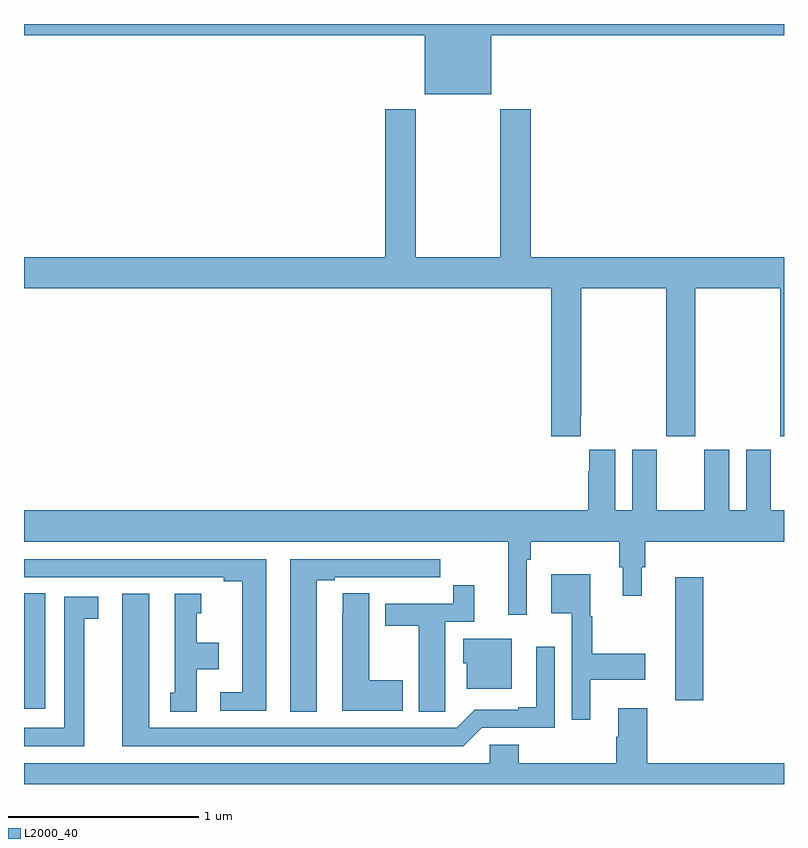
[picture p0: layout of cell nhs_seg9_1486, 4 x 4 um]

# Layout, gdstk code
import gdstk
lib = gdstk.Library(unit=1e-6, precision=1e-09)
def R(c, l, rs):  # rectangles x0, y0, x1, y1
    for r in rs: c.add(gdstk.rectangle(r[:2], r[2:], *l))
def P(c, l, *ps):  # polygons
    for p in ps: c.add(gdstk.Polygon(p, *l))
L2000_40 = (2000, 40)

nhs_seg9_1486 = lib.new_cell('nhs_seg9_1486')
R(nhs_seg9_1486, L2000_40, [(195,1172.895,195.112,1173.503), (198.428,1172.94,198.575,1173.589)])
P(nhs_seg9_1486, L2000_40, [(197.458,1176.44),(199,1176.44),(199,1176.5),(195,1176.5),(195,1176.44),(197.108,1176.44),(197.108,1176.131),(197.458,1176.131)],
  [(197.929,1174.441),(197.934,1174.441),(197.934,1175.108),(198.379,1175.108),(198.379,1174.329),(198.534,1174.329),(198.534,1175.108),(198.979,1175.108),(198.979,1174.329),(199,1174.329),(199,1175.272),(197.666,1175.272),(197.666,1176.052),(197.506,1176.052),(197.506,1175.272),(197.061,1175.272),(197.061,1176.052),(196.901,1176.052),(196.901,1175.272),(195,1175.272),(195,1175.108),(197.774,1175.108),(197.774,1174.329),(197.929,1174.329)],
  [(197.646,1173.68),(197.666,1173.68),(197.666,1173.776),(198.133,1173.776),(198.133,1173.642),(198.152,1173.642),(198.152,1173.492),(198.25,1173.492),(198.25,1173.642),(198.269,1173.642),(198.269,1173.776),(199,1173.776),(199,1173.94),(198.931,1173.94),(198.931,1174.258),(198.8,1174.258),(198.8,1173.94),(198.712,1173.94),(198.712,1174.258),(198.581,1174.258),(198.581,1173.94),(198.331,1173.94),(198.331,1174.258),(198.2,1174.258),(198.2,1173.94),(198.112,1173.94),(198.112,1174.258),(197.975,1174.258),(197.975,1174.145),(197.969,1174.145),(197.969,1173.94),(195,1173.94),(195,1173.776),(197.549,1173.776),(197.549,1173.39),(197.646,1173.39)],
  [(196.276,1173.684),(195,1173.684),(195,1173.588),(196.052,1173.588),(196.052,1173.568),(196.148,1173.568),(196.148,1172.982),(196.032,1172.982),(196.032,1172.886),(196.276,1172.886)],
  [(196.54,1173.573),(196.636,1173.573),(196.636,1173.588),(196.912,1173.588),(196.912,1173.587),(197.078,1173.587),(197.078,1173.588),(197.191,1173.588),(197.191,1173.684),(196.4,1173.684),(196.4,1172.881),(196.54,1172.881)],
  [(197.98,1173.05),(198.271,1173.05),(198.271,1173.185),(197.992,1173.185),(197.992,1173.384),(197.98,1173.384),(197.98,1173.604),(197.774,1173.604),(197.774,1173.398),(197.883,1173.398),(197.883,1172.838),(197.98,1172.838)],
  [(197.217,1172.992),(197.218,1172.992),(197.218,1173.354),(197.369,1173.354),(197.369,1173.547),(197.26,1173.547),(197.26,1173.45),(196.901,1173.45),(196.901,1173.334),(197.078,1173.334),(197.078,1172.881),(197.217,1172.881)],
  [(196.993,1173.045),(196.816,1173.045),(196.816,1173.503),(196.677,1173.503),(196.677,1173.395),(196.676,1173.395),(196.676,1172.885),(196.993,1172.885)],
  [(195.91,1173.104),(196.024,1173.104),(196.024,1173.244),(195.91,1173.244),(195.91,1173.399),(195.934,1173.399),(195.934,1173.502),(195.794,1173.502),(195.794,1172.979),(195.77,1172.979),(195.77,1172.881),(195.91,1172.881)],
  [(197.409,1172.796),(197.793,1172.796),(197.793,1173.223),(197.696,1173.223),(197.696,1172.905),(197.6,1172.905),(197.6,1172.892),(197.373,1172.892),(197.277,1172.796),(195.658,1172.796),(195.658,1173.502),(195.518,1173.502),(195.518,1172.7),(197.313,1172.7)],
  [(195.316,1173.37),(195.391,1173.37),(195.391,1173.486),(195.212,1173.486),(195.212,1172.796),(195,1172.796),(195,1172.7),(195.316,1172.7)],
  [(197.566,1173.265),(197.312,1173.265),(197.312,1173.135),(197.33,1173.135),(197.33,1173.002),(197.566,1173.002)],
  [(199,1172.608),(198.281,1172.608),(198.281,1172.899),(198.128,1172.899),(198.128,1172.75),(198.116,1172.75),(198.116,1172.608),(197.603,1172.608),(197.603,1172.706),(197.451,1172.706),(197.451,1172.608),(195,1172.608),(195,1172.5),(199,1172.5)])

lib.write_gds('nhs_seg9_1486.gds')
